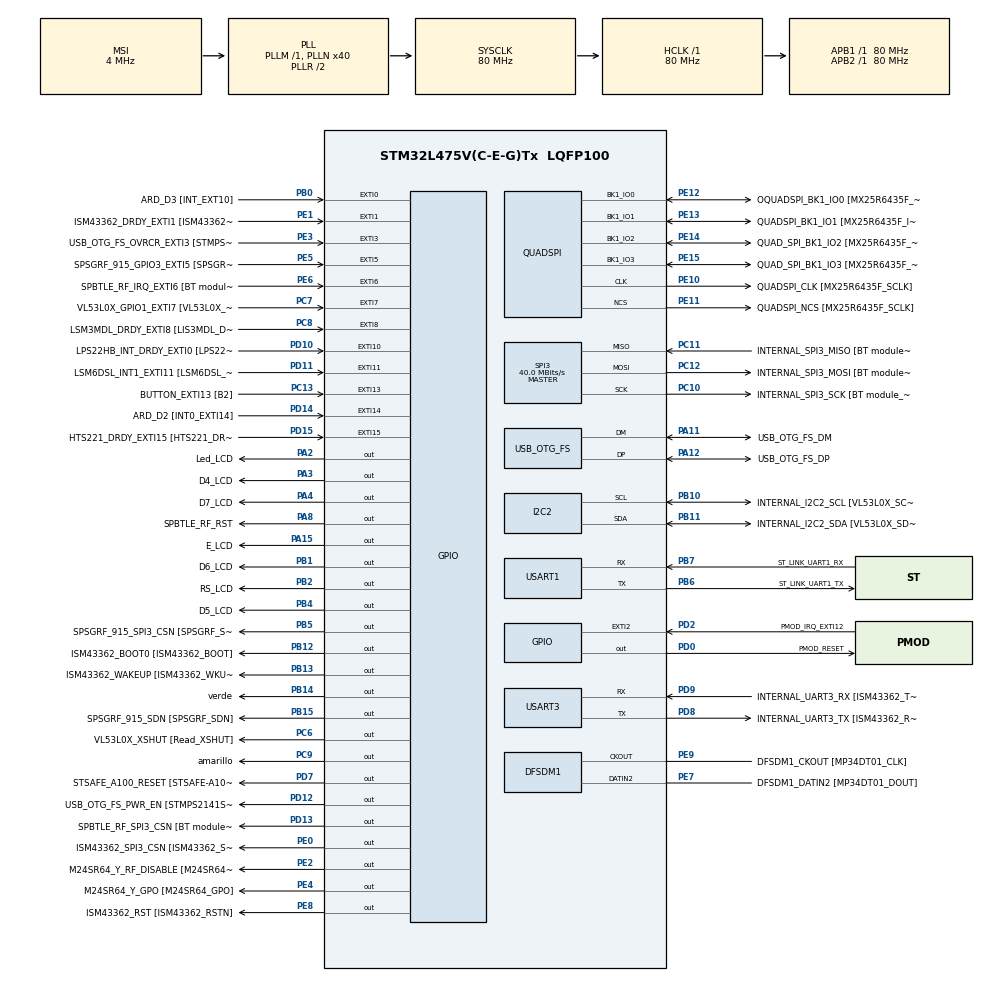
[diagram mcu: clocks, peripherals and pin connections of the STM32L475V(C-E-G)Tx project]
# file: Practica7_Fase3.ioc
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FREERTOS.BinarySemaphores01=AccesoLCD,Dynamic,NULL
FREERTOS.Tasks01=defaultTask,24,128,StartDefaultTask,Default,NULL,Dynamic,NULL,NULL;led_verde,24,128,Start_led_verde,Default,NULL,Dynamic,NULL,NULL;led_amarillo,8,128,Start_led_amarillo,Default,NULL,Dynamic,NULL,NULL;LCDTareaA,8,128,StartLCD_TareaA,Default,NULL,Dynamic,NULL,NULL;LCDtareaB,9,128,StartTareaB,Default,NULL,Dynamic,NULL,NULL
FREERTOS.configTOTAL_HEAP_SIZE=30000
I2C2.Timing=0x10909CEC
Mcu.Family=STM32L4
Mcu.Name=STM32L475V(C-E-G)Tx
Mcu.Package=LQFP100
NVIC.EXTI15_10_IRQn=true\:5\:0\:false\:false\:true\:true\:true\:true\:true
NVIC.EXTI9_5_IRQn=true\:5\:0\:false\:false\:true\:true\:true\:true\:true
NVIC.PriorityGroup=NVIC_PRIORITYGROUP_4
PA0.GPIO_Label=ARD_D1 [UART4_TX]
PA0.Signal=UART4_TX
PA1.GPIO_Label=ARD_D0 [UART4_RX]
PA1.Signal=UART4_RX
PA10.GPIO_Label=USB_OTG_FS_ID
PA10.Signal=USB_OTG_FS_ID
PA11.GPIO_Label=USB_OTG_FS_DM
PA11.Mode=Device_Only
PA11.Signal=USB_OTG_FS_DM
PA12.GPIO_Label=USB_OTG_FS_DP
PA12.Mode=Device_Only
PA12.Signal=USB_OTG_FS_DP
PA13\ (JTMS-SWDIO).GPIO_Label=SYS_JTMS_SWDIO
PA13\ (JTMS-SWDIO).Mode=Serial_Wire
PA13\ (JTMS-SWDIO).Signal=SYS_JTMS-SWDIO
PA14\ (JTCK-SWCLK).GPIO_Label=SYS_JTCK_SWCLK
PA14\ (JTCK-SWCLK).Mode=Serial_Wire
PA14\ (JTCK-SWCLK).Signal=SYS_JTCK-SWCLK
PA15\ (JTDI).GPIO_Label=E_LCD
PA15\ (JTDI).Signal=GPIO_Output
PA2.GPIO_Label=Led_LCD
PA2.Signal=GPIO_Output
PA3.GPIO_Label=D4_LCD
PA3.Signal=GPIO_Output
PA4.GPIO_Label=D7_LCD
PA4.Signal=GPIO_Output
PA5.GPIO_Label=ARD_D13 [SPI1_SCK]
PA5.Signal=SPI1_SCK
PA6.GPIO_Label=ARD_D12 [SPI1_MISO]
PA6.Signal=SPI1_MISO
PA7.GPIO_Label=ARD_D11 [SPI1_MOSI]
PA7.Signal=SPI1_MOSI
PA8.GPIO_Label=SPBTLE_RF_RST
PA8.Signal=GPIO_Output
PA9.GPIO_Label=USB_OTG_FS_VBUS [STMPS2141STR_OUT]
PA9.Signal=USB_OTG_FS_VBUS
PB0.GPIO_Label=ARD_D3 [INT_EXT10]
PB0.Signal=GPXTI0
PB1.GPIO_Label=D6_LCD
PB1.Signal=GPIO_Output
PB10.GPIO_Label=INTERNAL_I2C2_SCL [VL53L0X_SCL]
PB10.GPIO_Pu=GPIO_PULLUP
PB10.Mode=I2C
PB10.Signal=I2C2_SCL
PB11.GPIO_Label=INTERNAL_I2C2_SDA [VL53L0X_SDA]
PB11.GPIO_Pu=GPIO_PULLUP
PB11.Mode=I2C
PB11.Signal=I2C2_SDA
PB12.GPIO_Label=ISM43362_BOOT0 [ISM43362_BOOT]
PB12.Signal=GPIO_Output
PB13.GPIO_Label=ISM43362_WAKEUP [ISM43362_WKUP]
PB13.Signal=GPIO_Output
PB14.GPIO_Label=verde
PB14.Signal=GPIO_Output
PB15.GPIO_Label=SPSGRF_915_SDN [SPSGRF_SDN]
PB15.Signal=GPIO_Output
PB2.GPIO_Label=RS_LCD
PB2.Signal=GPIO_Output
PB3\ (JTDO-TRACESWO).GPIO_Label=SYS_JTD0_SWO
PB3\ (JTDO-TRACESWO).Signal=SYS_JTDO-SWO
PB4\ (NJTRST).GPIO_Label=D5_LCD
PB4\ (NJTRST).Signal=GPIO_Output
PB5.GPIO_Label=SPSGRF_915_SPI3_CSN [SPSGRF_SPI_CS]
PB5.PinState=GPIO_PIN_SET
PB5.Signal=GPIO_Output
PB6.GPIO_Label=ST_LINK_UART1_TX
PB6.Mode=Asynchronous
PB6.Signal=USART1_TX
PB7.GPIO_Label=ST_LINK_UART1_RX
PB7.Mode=Asynchronous
PB7.Signal=USART1_RX
PB8.GPIO_Label=ARD_D15 [I2C1_SCL]
PB8.Signal=I2C1_SCL
PB9.GPIO_Label=ARD_D14 [I2C1_SDA]
PB9.Signal=I2C1_SDA
PC0.GPIO_Label=ARD_A5 [ADC]
PC0.Signal=ADCx_IN1
PC1.GPIO_Label=ARD_A4 [ADC]
PC1.Signal=ADCx_IN2
PC10.GPIO_Label=INTERNAL_SPI3_SCK [BT module_SPI_SCLK] [ISM43362_SCK]
PC10.Mode=Full_Duplex_Master
PC10.Signal=SPI3_SCK
PC11.GPIO_Label=INTERNAL_SPI3_MISO [BT module_SPI_MISO] [ISM43362_MISO]
PC11.Mode=Full_Duplex_Master
PC11.Signal=SPI3_MISO
PC12.GPIO_Label=INTERNAL_SPI3_MOSI [BT module_SPI_MOSI] [ISM43362_MOSI]
PC12.Mode=Full_Duplex_Master
PC12.Signal=SPI3_MOSI
PC13.GPIO_Label=BUTTON_EXTI13 [B2]
PC13.GPIO_ModeDefaultEXTI=GPIO_MODE_IT_FALLING
PC13.Signal=GPXTI13
PC14-OSC32_IN\ (PC14).Mode=LSE-External-Oscillator
PC14-OSC32_IN\ (PC14).Signal=RCC_OSC32_IN
PC15-OSC32_OUT\ (PC15).Mode=LSE-External-Oscillator
PC15-OSC32_OUT\ (PC15).Signal=RCC_OSC32_OUT
PC2.GPIO_Label=ARD_A3 [ADC]
PC2.Signal=ADCx_IN3
PC3.GPIO_Label=ARD_A2 [ADC]
PC3.Signal=ADCx_IN4
PC4.GPIO_Label=ARD_A1 [ADC]
PC4.Signal=ADCx_IN13
PC5.GPIO_Label=ARD_A0 [ADC]
PC5.Signal=ADCx_IN14
PC6.GPIO_Label=VL53L0X_XSHUT [Read_XSHUT]
PC6.Signal=GPIO_Output
PC7.GPIO_Label=VL53L0X_GPIO1_EXTI7 [VL53L0X_GPIO1]
PC7.Signal=GPXTI7
PC8.GPIO_Label=LSM3MDL_DRDY_EXTI8 [LIS3MDL_DRDY]
PC8.Signal=GPXTI8
PC9.GPIO_Label=amarillo
PC9.Signal=GPIO_Output
PD0.GPIO_Label=PMOD_RESET
PD0.Signal=GPIO_Output
PD1.GPIO_Label=PMOD_SPI2_SCK
PD1.Signal=SPI2_SCK
PD10.GPIO_Label=LPS22HB_INT_DRDY_EXTI0 [LPS22HB_INT_DRDY] 
PD10.Signal=GPXTI10
PD11.GPIO_Label=LSM6DSL_INT1_EXTI11 [LSM6DSL_INT1]
PD11.Signal=GPXTI11
PD12.GPIO_Label=USB_OTG_FS_PWR_EN [STMPS2141STR_EN]
PD12.Signal=GPIO_Output
PD13.GPIO_Label=SPBTLE_RF_SPI3_CSN [BT module_SPI_CS]
PD13.PinState=GPIO_PIN_SET
PD13.Signal=GPIO_Output
PD14.GPIO_Label=ARD_D2 [INT0_EXTI14]
PD14.Signal=GPXTI14
PD15.GPIO_Label=HTS221_DRDY_EXTI15 [HTS221_DRDY]
PD15.Signal=GPXTI15
PD2.GPIO_Label=PMOD_IRQ_EXTI12
PD2.Signal=GPXTI2
PD3.GPIO_Label=PMOD_UART2_CTS
PD3.Signal=USART2_CTS
PD4.GPIO_Label=PMOD_UART2_RTS
PD4.Signal=USART2_RTS
PD5.GPIO_Label=PMOD_UART2_TX
PD5.Signal=USART2_TX
PD6.GPIO_Label=PMOD_UART2_RX
PD6.Signal=USART2_RX
PD7.GPIO_Label=STSAFE_A100_RESET [STSAFE-A100_RESET]
PD7.Signal=GPIO_Output
PD8.GPIO_Label=INTERNAL_UART3_TX [ISM43362_RX]
PD8.Mode=Asynchronous
PD8.Signal=USART3_TX
PD9.GPIO_Label=INTERNAL_UART3_RX [ISM43362_TX]
PD9.Mode=Asynchronous
PD9.Signal=USART3_RX
PE0.GPIO_Label=ISM43362_SPI3_CSN [ISM43362_SSN]
PE0.PinState=GPIO_PIN_SET
PE0.Signal=GPIO_Output
PE1.GPIO_Label=ISM43362_DRDY_EXTI1 [ISM43362_DATARDY]
PE1.Signal=GPXTI1
PE10.GPIO_Label=QUADSPI_CLK [MX25R6435F_SCLK]
PE10.Mode=Single Bank
PE10.Signal=QUADSPI_CLK
PE11.GPIO_Label=QUADSPI_NCS [MX25R6435F_SCLK]
PE11.Mode=Single Bank
PE11.Signal=QUADSPI_NCS
PE12.GPIO_Label=OQUADSPI_BK1_IO0 [MX25R6435F_IO0]
PE12.Mode=Single Bank
PE12.Signal=QUADSPI_BK1_IO0
PE13.GPIO_Label=QUADSPI_BK1_IO1 [MX25R6435F_IO1]
PE13.Mode=Single Bank
PE13.Signal=QUADSPI_BK1_IO1
PE14.GPIO_Label=QUAD_SPI_BK1_IO2 [MX25R6435F_IO2]
PE14.Mode=Single Bank
PE14.Signal=QUADSPI_BK1_IO2
PE15.GPIO_Label=QUAD_SPI_BK1_IO3 [MX25R6435F_IO3]
PE15.Mode=Single Bank
PE15.Signal=QUADSPI_BK1_IO3
PE2.GPIO_Label=M24SR64_Y_RF_DISABLE [M24SR64_RFDIS]
PE2.Signal=GPIO_Output
PE3.GPIO_Label=USB_OTG_FS_OVRCR_EXTI3 [STMPS2141STR_FAULT]
PE3.Signal=GPXTI3
PE4.GPIO_Label=M24SR64_Y_GPO [M24SR64_GPO]
PE4.Signal=GPIO_Output
PE5.GPIO_Label=SPSGRF_915_GPIO3_EXTI5 [SPSGRF_GPIO_3]
PE5.Signal=GPXTI5
PE6.GPIO_Label=SPBTLE_RF_IRQ_EXTI6 [BT module_SPI_IRQ]
PE6.Signal=GPXTI6
PE7.GPIO_Label=DFSDM1_DATIN2 [MP34DT01_DOUT]
PE7.Signal=S_DATAIN2DFSDM1
PE8.GPIO_Label=ISM43362_RST [ISM43362_RSTN]
PE8.Signal=GPIO_Output
PE9.GPIO_Label=DFSDM1_CKOUT [MP34DT01_CLK]
PE9.Signal=S_CKOUTDFSDM1
ProjectManager.HeapSize=0x200
ProjectManager.StackSize=0x400
ProjectManager.TargetToolchain=STM32CubeIDE
QUADSPI.ClockPrescaler=2
QUADSPI.FifoThreshold=4
QUADSPI.FlashSize=23
QUADSPI.SampleShifting=QSPI_SAMPLE_SHIFTING_HALFCYCLE
RCC.ADCFreq_Value=48000000
RCC.AHBFreq_Value=80000000
RCC.APB1Freq_Value=80000000
RCC.APB1TimFreq_Value=80000000
RCC.APB2Freq_Value=80000000
RCC.APB2TimFreq_Value=80000000
RCC.CortexFreq_Value=80000000
RCC.HCLKFreq_Value=80000000
RCC.HSE_VALUE=8000000
RCC.HSI_VALUE=16000000
RCC.MSI_VALUE=4000000
RCC.PLLN=40
RCC.PLLSAI1N=24
RCC.SYSCLKFreq_VALUE=80000000
RCC.SYSCLKSource=RCC_SYSCLKSOURCE_PLLCLK
RCC.USBFreq_Value=48000000
RCC.VCOOutputFreq_Value=160000000
SH.ADCx_IN1.0=ADC1_IN1
SH.ADCx_IN13.0=ADC1_IN13
SH.ADCx_IN14.0=ADC1_IN14
SH.ADCx_IN2.0=ADC1_IN2
SH.ADCx_IN3.0=ADC1_IN3
SH.ADCx_IN4.0=ADC1_IN4
SH.S_CKOUTDFSDM1.0=DFSDM1_CKOUT,CKOUT
SH.S_CKOUTDFSDM1.1=DFSDM1_CKOUT,PDM_SPI_Input_from_ch12_and_Internal_Clock
SH.S_DATAIN2DFSDM1.0=DFSDM1_DATIN2,PDM_SPI_Input_from_ch12_and_Internal_Clock
SPI3.CalculateBaudRate=40.0 MBits/s
SPI3.Direction=SPI_DIRECTION_2LINES
SPI3.Mode=SPI_MODE_MASTER
SPI3.VirtualType=VM_MASTER
USART1.VirtualMode-Asynchronous=VM_ASYNC
USART3.VirtualMode-Asynchronous=VM_ASYNC
USB_OTG_FS.VirtualMode=Device_Only
VP_FREERTOS_VS_CMSIS_V2.Mode=CMSIS_V2
board=B-L475E-IOT01A2

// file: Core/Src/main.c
/* USER CODE BEGIN Header */
/**
  ******************************************************************************
  * @file           : main.c
  * @brief          : Main program body
  ******************************************************************************
  * @attention
  *
  * Copyright (c) 2024 STMicroelectronics.
  * All rights reserved.
  *
  * This software is licensed under terms that can be found in the LICENSE file
  * in the root directory of this software component.
  * If no LICENSE file comes with this software, it is provided AS-IS.
  *
  ******************************************************************************
  */
/* USER CODE END Header */
#include "main.h"
#include "cmsis_os.h"

/* USER CODE BEGIN Includes */
#include "hd44780.h"
/* USER CODE END Includes */

DFSDM_Channel_HandleTypeDef hdfsdm1_channel1;

I2C_HandleTypeDef hi2c2;

QSPI_HandleTypeDef hqspi;

SPI_HandleTypeDef hspi3;

UART_HandleTypeDef huart1;
UART_HandleTypeDef huart3;

PCD_HandleTypeDef hpcd_USB_OTG_FS;

/* Definitions for defaultTask */
osThreadId_t defaultTaskHandle;
const osThreadAttr_t defaultTask_attributes = {
  .name = "defaultTask",
  .stack_size = 128 * 4,
  .priority = (osPriority_t) osPriorityNormal,
};
/* Definitions for led_verde */
osThreadId_t led_verdeHandle;
const osThreadAttr_t led_verde_attributes = {
  .name = "led_verde",
  .stack_size = 128 * 4,
  .priority = (osPriority_t) osPriorityNormal,
};
/* Definitions for led_amarillo */
osThreadId_t led_amarilloHandle;
const osThreadAttr_t led_amarillo_attributes = {
  .name = "led_amarillo",
  .stack_size = 128 * 4,
  .priority = (osPriority_t) osPriorityLow,
};
/* Definitions for LCDTareaA */
osThreadId_t LCDTareaAHandle;
const osThreadAttr_t LCDTareaA_attributes = {
  .name = "LCDTareaA",
  .stack_size = 128 * 4,
  .priority = (osPriority_t) osPriorityLow,
};
/* Definitions for LCDtareaB */
osThreadId_t LCDtareaBHandle;
const osThreadAttr_t LCDtareaB_attributes = {
  .name = "LCDtareaB",
  .stack_size = 128 * 4,
  .priority = (osPriority_t) osPriorityLow1,
};
/* Definitions for AccesoLCD */
osSemaphoreId_t AccesoLCDHandle;
const osSemaphoreAttr_t AccesoLCD_attributes = {
  .name = "AccesoLCD"
};

void SystemClock_Config(void);
static void MX_GPIO_Init(void);
static void MX_DFSDM1_Init(void);
static void MX_I2C2_Init(void);
static void MX_QUADSPI_Init(void);
static void MX_SPI3_Init(void);
static void MX_USART1_UART_Init(void);
static void MX_USART3_UART_Init(void);
static void MX_USB_OTG_FS_PCD_Init(void);
void StartDefaultTask(void *argument);
void Start_led_verde(void *argument);
void Start_led_amarillo(void *argument);
void StartLCD_TareaA(void *argument);
void StartTareaB(void *argument);

int main(void)
{

  /* MCU Configuration--------------------------------------------------------*/

  /* Reset of all peripherals, Initializes the Flash interface and the Systick. */
  HAL_Init();

  /* Configure the system clock */
  SystemClock_Config();

  /* Initialize all configured peripherals */
  MX_GPIO_Init();
  MX_DFSDM1_Init();
  MX_I2C2_Init();
  MX_QUADSPI_Init();
  MX_SPI3_Init();
  MX_USART1_UART_Init();
  MX_USART3_UART_Init();
  MX_USB_OTG_FS_PCD_Init();

  /* Init scheduler */
  osKernelInitialize();

  /* Create the semaphores(s) */
  /* creation of AccesoLCD */
  AccesoLCDHandle = osSemaphoreNew(1, 1, &AccesoLCD_attributes);

  /* Create the thread(s) */
  /* creation of defaultTask */
  defaultTaskHandle = osThreadNew(StartDefaultTask, NULL, &defaultTask_attributes);

  /* creation of led_verde */
  led_verdeHandle = osThreadNew(Start_led_verde, NULL, &led_verde_attributes);

  /* creation of led_amarillo */
  led_amarilloHandle = osThreadNew(Start_led_amarillo, NULL, &led_amarillo_attributes);

  /* creation of LCDTareaA */
  LCDTareaAHandle = osThreadNew(StartLCD_TareaA, NULL, &LCDTareaA_attributes);

  /* creation of LCDtareaB */
  LCDtareaBHandle = osThreadNew(StartTareaB, NULL, &LCDtareaB_attributes);

  /* Start scheduler */
  osKernelStart();

  /* We should never get here as control is now taken by the scheduler */
  /* Infinite loop */
  while (1)
  {

  }
}

void SystemClock_Config(void)
{
  RCC_OscInitTypeDef RCC_OscInitStruct = {0};
  RCC_ClkInitTypeDef RCC_ClkInitStruct = {0};

  /** Configure the main internal regulator output voltage
  */
  if (HAL_PWREx_ControlVoltageScaling(PWR_REGULATOR_VOLTAGE_SCALE1) != HAL_OK)
  {
    Error_Handler();
  }

  /** Configure LSE Drive Capability
  */
  HAL_PWR_EnableBkUpAccess();
  __HAL_RCC_LSEDRIVE_CONFIG(RCC_LSEDRIVE_LOW);

  /** Initializes the RCC Oscillators according to the specified parameters
  * in the RCC_OscInitTypeDef structure.
  */
  RCC_OscInitStruct.OscillatorType = RCC_OSCILLATORTYPE_LSE|RCC_OSCILLATORTYPE_MSI;
  RCC_OscInitStruct.LSEState = RCC_LSE_ON;
  RCC_OscInitStruct.MSIState = RCC_MSI_ON;
  RCC_OscInitStruct.MSICalibrationValue = 0;
  RCC_OscInitStruct.MSIClockRange = RCC_MSIRANGE_6;
  RCC_OscInitStruct.PLL.PLLState = RCC_PLL_ON;
  RCC_OscInitStruct.PLL.PLLSource = RCC_PLLSOURCE_MSI;
  RCC_OscInitStruct.PLL.PLLM = 1;
  RCC_OscInitStruct.PLL.PLLN = 40;
  RCC_OscInitStruct.PLL.PLLP = RCC_PLLP_DIV7;
  RCC_OscInitStruct.PLL.PLLQ = RCC_PLLQ_DIV2;
  RCC_OscInitStruct.PLL.PLLR = RCC_PLLR_DIV2;
  if (HAL_RCC_OscConfig(&RCC_OscInitStruct) != HAL_OK)
  {
    Error_Handler();
  }

  /** Initializes the CPU, AHB and APB buses clocks
  */
  RCC_ClkInitStruct.ClockType = RCC_CLOCKTYPE_HCLK|RCC_CLOCKTYPE_SYSCLK
                              |RCC_CLOCKTYPE_PCLK1|RCC_CLOCKTYPE_PCLK2;
  RCC_ClkInitStruct.SYSCLKSource = RCC_SYSCLKSOURCE_PLLCLK;
  RCC_ClkInitStruct.AHBCLKDivider = RCC_SYSCLK_DIV1;
  RCC_ClkInitStruct.APB1CLKDivider = RCC_HCLK_DIV1;
  RCC_ClkInitStruct.APB2CLKDivider = RCC_HCLK_DIV1;

  if (HAL_RCC_ClockConfig(&RCC_ClkInitStruct, FLASH_LATENCY_4) != HAL_OK)
  {
    Error_Handler();
  }

  /** Enable MSI Auto calibration
  */
  HAL_RCCEx_EnableMSIPLLMode();
}

static void MX_DFSDM1_Init(void)
{

  hdfsdm1_channel1.Instance = DFSDM1_Channel1;
  hdfsdm1_channel1.Init.OutputClock.Activation = ENABLE;
  hdfsdm1_channel1.Init.OutputClock.Selection = DFSDM_CHANNEL_OUTPUT_CLOCK_SYSTEM;
  hdfsdm1_channel1.Init.OutputClock.Divider = 2;
  hdfsdm1_channel1.Init.Input.Multiplexer = DFSDM_CHANNEL_EXTERNAL_INPUTS;
  hdfsdm1_channel1.Init.Input.DataPacking = DFSDM_CHANNEL_STANDARD_MODE;
  hdfsdm1_channel1.Init.Input.Pins = DFSDM_CHANNEL_FOLLOWING_CHANNEL_PINS;
  hdfsdm1_channel1.Init.SerialInterface.Type = DFSDM_CHANNEL_SPI_RISING;
  hdfsdm1_channel1.Init.SerialInterface.SpiClock = DFSDM_CHANNEL_SPI_CLOCK_INTERNAL;
  hdfsdm1_channel1.Init.Awd.FilterOrder = DFSDM_CHANNEL_FASTSINC_ORDER;
  hdfsdm1_channel1.Init.Awd.Oversampling = 1;
  hdfsdm1_channel1.Init.Offset = 0;
  hdfsdm1_channel1.Init.RightBitShift = 0x00;
  if (HAL_DFSDM_ChannelInit(&hdfsdm1_channel1) != HAL_OK)
  {
    Error_Handler();
  }

}

static void MX_I2C2_Init(void)
{

  hi2c2.Instance = I2C2;
  hi2c2.Init.Timing = 0x10909CEC;
  hi2c2.Init.OwnAddress1 = 0;
  hi2c2.Init.AddressingMode = I2C_ADDRESSINGMODE_7BIT;
  hi2c2.Init.DualAddressMode = I2C_DUALADDRESS_DISABLE;
  hi2c2.Init.OwnAddress2 = 0;
  hi2c2.Init.OwnAddress2Masks = I2C_OA2_NOMASK;
  hi2c2.Init.GeneralCallMode = I2C_GENERALCALL_DISABLE;
  hi2c2.Init.NoStretchMode = I2C_NOSTRETCH_DISABLE;
  if (HAL_I2C_Init(&hi2c2) != HAL_OK)
  {
    Error_Handler();
  }

  /** Configure Analogue filter
  */
  if (HAL_I2CEx_ConfigAnalogFilter(&hi2c2, I2C_ANALOGFILTER_ENABLE) != HAL_OK)
  {
    Error_Handler();
  }

  /** Configure Digital filter
  */
  if (HAL_I2CEx_ConfigDigitalFilter(&hi2c2, 0) != HAL_OK)
  {
    Error_Handler();
  }

}

static void MX_QUADSPI_Init(void)
{

  /* QUADSPI parameter configuration*/
  hqspi.Instance = QUADSPI;
  hqspi.Init.ClockPrescaler = 2;
  hqspi.Init.FifoThreshold = 4;
  hqspi.Init.SampleShifting = QSPI_SAMPLE_SHIFTING_HALFCYCLE;
  hqspi.Init.FlashSize = 23;
  hqspi.Init.ChipSelectHighTime = QSPI_CS_HIGH_TIME_1_CYCLE;
  hqspi.Init.ClockMode = QSPI_CLOCK_MODE_0;
  if (HAL_QSPI_Init(&hqspi) != HAL_OK)
  {
    Error_Handler();
  }

}

static void MX_SPI3_Init(void)
{

  /* SPI3 parameter configuration*/
  hspi3.Instance = SPI3;
  hspi3.Init.Mode = SPI_MODE_MASTER;
  hspi3.Init.Direction = SPI_DIRECTION_2LINES;
  hspi3.Init.DataSize = SPI_DATASIZE_4BIT;
  hspi3.Init.CLKPolarity = SPI_POLARITY_LOW;
  hspi3.Init.CLKPhase = SPI_PHASE_1EDGE;
  hspi3.Init.NSS = SPI_NSS_SOFT;
  hspi3.Init.BaudRatePrescaler = SPI_BAUDRATEPRESCALER_2;
  hspi3.Init.FirstBit = SPI_FIRSTBIT_MSB;
  hspi3.Init.TIMode = SPI_TIMODE_DISABLE;
  hspi3.Init.CRCCalculation = SPI_CRCCALCULATION_DISABLE;
  hspi3.Init.CRCPolynomial = 7;
  hspi3.Init.CRCLength = SPI_CRC_LENGTH_DATASIZE;
  hspi3.Init.NSSPMode = SPI_NSS_PULSE_ENABLE;
  if (HAL_SPI_Init(&hspi3) != HAL_OK)
  {
    Error_Handler();
  }

}

static void MX_USART1_UART_Init(void)
{

  huart1.Instance = USART1;
  huart1.Init.BaudRate = 115200;
  huart1.Init.WordLength = UART_WORDLENGTH_8B;
  huart1.Init.StopBits = UART_STOPBITS_1;
  huart1.Init.Parity = UART_PARITY_NONE;
  huart1.Init.Mode = UART_MODE_TX_RX;
  huart1.Init.HwFlowCtl = UART_HWCONTROL_NONE;
  huart1.Init.OverSampling = UART_OVERSAMPLING_16;
  huart1.Init.OneBitSampling = UART_ONE_BIT_SAMPLE_DISABLE;
  huart1.AdvancedInit.AdvFeatureInit = UART_ADVFEATURE_NO_INIT;
  if (HAL_UART_Init(&huart1) != HAL_OK)
  {
    Error_Handler();
  }

}

static void MX_USART3_UART_Init(void)
{

  huart3.Instance = USART3;
  huart3.Init.BaudRate = 115200;
  huart3.Init.WordLength = UART_WORDLENGTH_8B;
  huart3.Init.StopBits = UART_STOPBITS_1;
  huart3.Init.Parity = UART_PARITY_NONE;
  huart3.Init.Mode = UART_MODE_TX_RX;
  huart3.Init.HwFlowCtl = UART_HWCONTROL_NONE;
  huart3.Init.OverSampling = UART_OVERSAMPLING_16;
  huart3.Init.OneBitSampling = UART_ONE_BIT_SAMPLE_DISABLE;
  huart3.AdvancedInit.AdvFeatureInit = UART_ADVFEATURE_NO_INIT;
  if (HAL_UART_Init(&huart3) != HAL_OK)
  {
    Error_Handler();
  }

}

static void MX_USB_OTG_FS_PCD_Init(void)
{

  hpcd_USB_OTG_FS.Instance = USB_OTG_FS;
  hpcd_USB_OTG_FS.Init.dev_endpoints = 6;
  hpcd_USB_OTG_FS.Init.speed = PCD_SPEED_FULL;
  hpcd_USB_OTG_FS.Init.phy_itface = PCD_PHY_EMBEDDED;
  hpcd_USB_OTG_FS.Init.Sof_enable = DISABLE;
  hpcd_USB_OTG_FS.Init.low_power_enable = DISABLE;
  hpcd_USB_OTG_FS.Init.lpm_enable = DISABLE;
  hpcd_USB_OTG_FS.Init.battery_charging_enable = DISABLE;
  hpcd_USB_OTG_FS.Init.use_dedicated_ep1 = DISABLE;
  hpcd_USB_OTG_FS.Init.vbus_sensing_enable = DISABLE;
  if (HAL_PCD_Init(&hpcd_USB_OTG_FS) != HAL_OK)
  {
    Error_Handler();
  }

}

static void MX_GPIO_Init(void)
{
  GPIO_InitTypeDef GPIO_InitStruct = {0};

  /* GPIO Ports Clock Enable */
  __HAL_RCC_GPIOE_CLK_ENABLE();
  __HAL_RCC_GPIOC_CLK_ENABLE();
  __HAL_RCC_GPIOA_CLK_ENABLE();
  __HAL_RCC_GPIOB_CLK_ENABLE();
  __HAL_RCC_GPIOD_CLK_ENABLE();

  /*Configure GPIO pin Output Level */
  HAL_GPIO_WritePin(GPIOE, M24SR64_Y_RF_DISABLE_Pin|M24SR64_Y_GPO_Pin|ISM43362_RST_Pin, GPIO_PIN_RESET);

  /*Configure GPIO pin Output Level */
  HAL_GPIO_WritePin(GPIOA, Led_LCD_Pin|D4_LCD_Pin|D7_LCD_Pin|SPBTLE_RF_RST_Pin
                          |E_LCD_Pin, GPIO_PIN_RESET);

  /*Configure GPIO pin Output Level */
  HAL_GPIO_WritePin(GPIOB, D6_LCD_Pin|RS_LCD_Pin|ISM43362_BOOT0_Pin|ISM43362_WAKEUP_Pin
                          |verde_Pin|SPSGRF_915_SDN_Pin|D5_LCD_Pin, GPIO_PIN_RESET);

  /*Configure GPIO pin Output Level */
  HAL_GPIO_WritePin(GPIOD, USB_OTG_FS_PWR_EN_Pin|PMOD_RESET_Pin|STSAFE_A100_RESET_Pin, GPIO_PIN_RESET);

  /*Configure GPIO pin Output Level */
  HAL_GPIO_WritePin(SPBTLE_RF_SPI3_CSN_GPIO_Port, SPBTLE_RF_SPI3_CSN_Pin, GPIO_PIN_SET);

  /*Configure GPIO pin Output Level */
  HAL_GPIO_WritePin(GPIOC, VL53L0X_XSHUT_Pin|amarillo_Pin, GPIO_PIN_RESET);

  /*Configure GPIO pin Output Level */
  HAL_GPIO_WritePin(SPSGRF_915_SPI3_CSN_GPIO_Port, SPSGRF_915_SPI3_CSN_Pin, GPIO_PIN_SET);

  /*Configure GPIO pin Output Level */
  HAL_GPIO_WritePin(ISM43362_SPI3_CSN_GPIO_Port, ISM43362_SPI3_CSN_Pin, GPIO_PIN_SET);

  /*Configure GPIO pins : M24SR64_Y_RF_DISABLE_Pin M24SR64_Y_GPO_Pin ISM43362_RST_Pin ISM43362_SPI3_CSN_Pin */
  GPIO_InitStruct.Pin = M24SR64_Y_RF_DISABLE_Pin|M24SR64_Y_GPO_Pin|ISM43362_RST_Pin|ISM43362_SPI3_CSN_Pin;
  GPIO_InitStruct.Mode = GPIO_MODE_OUTPUT_PP;
  GPIO_InitStruct.Pull = GPIO_NOPULL;
  GPIO_InitStruct.Speed = GPIO_SPEED_FREQ_LOW;
  HAL_GPIO_Init(GPIOE, &GPIO_InitStruct);

  /*Configure GPIO pins : USB_OTG_FS_OVRCR_EXTI3_Pin SPSGRF_915_GPIO3_EXTI5_Pin SPBTLE_RF_IRQ_EXTI6_Pin ISM43362_DRDY_EXTI1_Pin */
  GPIO_InitStruct.Pin = USB_OTG_FS_OVRCR_EXTI3_Pin|SPSGRF_915_GPIO3_EXTI5_Pin|SPBTLE_RF_IRQ_EXTI6_Pin|ISM43362_DRDY_EXTI1_Pin;
  GPIO_InitStruct.Mode = GPIO_MODE_IT_RISING;
  GPIO_InitStruct.Pull = GPIO_NOPULL;
  HAL_GPIO_Init(GPIOE, &GPIO_InitStruct);

  /*Configure GPIO pin : BUTTON_EXTI13_Pin */
  GPIO_InitStruct.Pin = BUTTON_EXTI13_Pin;
  GPIO_InitStruct.Mode = GPIO_MODE_IT_FALLING;
  GPIO_InitStruct.Pull = GPIO_NOPULL;
  HAL_GPIO_Init(BUTTON_EXTI13_GPIO_Port, &GPIO_InitStruct);

  /*Configure GPIO pins : ARD_A5_Pin ARD_A4_Pin ARD_A3_Pin ARD_A2_Pin
                           ARD_A1_Pin ARD_A0_Pin */
  GPIO_InitStruct.Pin = ARD_A5_Pin|ARD_A4_Pin|ARD_A3_Pin|ARD_A2_Pin
                          |ARD_A1_Pin|ARD_A0_Pin;
  GPIO_InitStruct.Mode = GPIO_MODE_ANALOG_ADC_CONTROL;
  GPIO_InitStruct.Pull = GPIO_NOPULL;
  HAL_GPIO_Init(GPIOC, &GPIO_InitStruct);

  /*Configure GPIO pins : ARD_D1_Pin ARD_D0_Pin */
  GPIO_InitStruct.Pin = ARD_D1_Pin|ARD_D0_Pin;
  GPIO_InitStruct.Mode = GPIO_MODE_AF_PP;
  GPIO_InitStruct.Pull = GPIO_NOPULL;
  GPIO_InitStruct.Speed = GPIO_SPEED_FREQ_VERY_HIGH;
  GPIO_InitStruct.Alternate = GPIO_AF8_UART4;
  HAL_GPIO_Init(GPIOA, &GPIO_InitStruct);

  /*Configure GPIO pins : Led_LCD_Pin D4_LCD_Pin D7_LCD_Pin SPBTLE_RF_RST_Pin
                           E_LCD_Pin */
  GPIO_InitStruct.Pin = Led_LCD_Pin|D4_LCD_Pin|D7_LCD_Pin|SPBTLE_RF_RST_Pin
                          |E_LCD_Pin;
  GPIO_InitStruct.Mode = GPIO_MODE_OUTPUT_PP;
  GPIO_InitStruct.Pull = GPIO_NOPULL;
  GPIO_InitStruct.Speed = GPIO_SPEED_FREQ_LOW;
  HAL_GPIO_Init(GPIOA, &GPIO_InitStruct);

  /*Configure GPIO pins : ARD_D13_Pin ARD_D12_Pin ARD_D11_Pin */
  GPIO_InitStruct.Pin = ARD_D13_Pin|ARD_D12_Pin|ARD_D11_Pin;
  GPIO_InitStruct.Mode = GPIO_MODE_AF_PP;
  GPIO_InitStruct.Pull = GPIO_NOPULL;
  GPIO_InitStruct.Speed = GPIO_SPEED_FREQ_VERY_HIGH;
  GPIO_InitStruct.Alternate = GPIO_AF5_SPI1;
  HAL_GPIO_Init(GPIOA, &GPIO_InitStruct);

  /*Configure GPIO pin : ARD_D3_Pin */
  GPIO_InitStruct.Pin = ARD_D3_Pin;
  GPIO_InitStruct.Mode = GPIO_MODE_IT_RISING;
  GPIO_InitStruct.Pull = GPIO_NOPULL;
  HAL_GPIO_Init(ARD_D3_GPIO_Port, &GPIO_InitStruct);

  /*Configure GPIO pins : D6_LCD_Pin RS_LCD_Pin ISM43362_BOOT0_Pin ISM43362_WAKEUP_Pin
                           verde_Pin SPSGRF_915_SDN_Pin D5_LCD_Pin SPSGRF_915_SPI3_CSN_Pin */
  GPIO_InitStruct.Pin = D6_LCD_Pin|RS_LCD_Pin|ISM43362_BOOT0_Pin|ISM43362_WAKEUP_Pin
                          |verde_Pin|SPSGRF_915_SDN_Pin|D5_LCD_Pin|SPSGRF_915_SPI3_CSN_Pin;
  GPIO_InitStruct.Mode = GPIO_MODE_OUTPUT_PP;
  GPIO_InitStruct.Pull = GPIO_NOPULL;
  GPIO_InitStruct.Speed = GPIO_SPEED_FREQ_LOW;
  HAL_GPIO_Init(GPIOB, &GPIO_InitStruct);

  /*Configure GPIO pins : LPS22HB_INT_DRDY_EXTI0_Pin LSM6DSL_INT1_EXTI11_Pin ARD_D2_Pin HTS221_DRDY_EXTI15_Pin
                           PMOD_IRQ_EXTI12_Pin */
  GPIO_InitStruct.Pin = LPS22HB_INT_DRDY_EXTI0_Pin|LSM6DSL_INT1_EXTI11_Pin|ARD_D2_Pin|HTS221_DRDY_EXTI15_Pin
                          |PMOD_IRQ_EXTI12_Pin;
  GPIO_InitStruct.Mode = GPIO_MODE_IT_RISING;
  GPIO_InitStruct.Pull = GPIO_NOPULL;
  HAL_GPIO_Init(GPIOD, &GPIO_InitStruct);

  /*Configure GPIO pins : USB_OTG_FS_PWR_EN_Pin SPBTLE_RF_SPI3_CSN_Pin PMOD_RESET_Pin STSAFE_A100_RESET_Pin */
  GPIO_InitStruct.Pin = USB_OTG_FS_PWR_EN_Pin|SPBTLE_RF_SPI3_CSN_Pin|PMOD_RESET_Pin|STSAFE_A100_RESET_Pin;
  GPIO_InitStruct.Mode = GPIO_MODE_OUTPUT_PP;
  GPIO_InitStruct.Pull = GPIO_NOPULL;
  GPIO_InitStruct.Speed = GPIO_SPEED_FREQ_LOW;
  HAL_GPIO_Init(GPIOD, &GPIO_InitStruct);

  /*Configure GPIO pins : VL53L0X_XSHUT_Pin amarillo_Pin */
  GPIO_InitStruct.Pin = VL53L0X_XSHUT_Pin|amarillo_Pin;
  GPIO_InitStruct.Mode = GPIO_MODE_OUTPUT_PP;
  GPIO_InitStruct.Pull = GPIO_NOPULL;
  GPIO_InitStruct.Speed = GPIO_SPEED_FREQ_LOW;
  HAL_GPIO_Init(GPIOC, &GPIO_InitStruct);

  /*Configure GPIO pins : VL53L0X_GPIO1_EXTI7_Pin LSM3MDL_DRDY_EXTI8_Pin */
  GPIO_InitStruct.Pin = VL53L0X_GPIO1_EXTI7_Pin|LSM3MDL_DRDY_EXTI8_Pin;
  GPIO_InitStruct.Mode = GPIO_MODE_IT_RISING;
  GPIO_InitStruct.Pull = GPIO_NOPULL;
  HAL_GPIO_Init(GPIOC, &GPIO_InitStruct);

  /*Configure GPIO pin : PMOD_SPI2_SCK_Pin */
  GPIO_InitStruct.Pin = PMOD_SPI2_SCK_Pin;
  GPIO_InitStruct.Mode = GPIO_MODE_AF_PP;
  GPIO_InitStruct.Pull = GPIO_NOPULL;
  GPIO_InitStruct.Speed = GPIO_SPEED_FREQ_VERY_HIGH;
  GPIO_InitStruct.Alternate = GPIO_AF5_SPI2;
  HAL_GPIO_Init(PMOD_SPI2_SCK_GPIO_Port, &GPIO_InitStruct);

  /*Configure GPIO pins : PMOD_UART2_CTS_Pin PMOD_UART2_RTS_Pin PMOD_UART2_TX_Pin PMOD_UART2_RX_Pin */
  GPIO_InitStruct.Pin = PMOD_UART2_CTS_Pin|PMOD_UART2_RTS_Pin|PMOD_UART2_TX_Pin|PMOD_UART2_RX_Pin;
  GPIO_InitStruct.Mode = GPIO_MODE_AF_PP;
  GPIO_InitStruct.Pull = GPIO_NOPULL;
  GPIO_InitStruct.Speed = GPIO_SPEED_FREQ_VERY_HIGH;
  GPIO_InitStruct.Alternate = GPIO_AF7_USART2;
  HAL_GPIO_Init(GPIOD, &GPIO_InitStruct);

  /*Configure GPIO pins : ARD_D15_Pin ARD_D14_Pin */
  GPIO_InitStruct.Pin = ARD_D15_Pin|ARD_D14_Pin;
  GPIO_InitStruct.Mode = GPIO_MODE_AF_OD;
  GPIO_InitStruct.Pull = GPIO_NOPULL;
  GPIO_InitStruct.Speed = GPIO_SPEED_FREQ_VERY_HIGH;
  GPIO_InitStruct.Alternate = GPIO_AF4_I2C1;
  HAL_GPIO_Init(GPIOB, &GPIO_InitStruct);

  /* EXTI interrupt init*/
  HAL_NVIC_SetPriority(EXTI9_5_IRQn, 5, 0);
  HAL_NVIC_EnableIRQ(EXTI9_5_IRQn);

  HAL_NVIC_SetPriority(EXTI15_10_IRQn, 5, 0);
  HAL_NVIC_EnableIRQ(EXTI15_10_IRQn);

}

void StartDefaultTask(void *argument)
{
  for(;;)
  {
    osDelay(1);
  }
}

void Start_led_verde(void *argument)
{
  /* USER CODE BEGIN Start_led_verde */
  /* Infinite loop */
  for(;;)
  {HAL_GPIO_WritePin(verde_GPIO_Port, verde_Pin,1);
    osDelay(300);
    HAL_GPIO_WritePin(verde_GPIO_Port, verde_Pin,0);
        osDelay(300);
  }
  /* USER CODE END Start_led_verde */
}

void Start_led_amarillo(void *argument)
{
  /* USER CODE BEGIN Start_led_amarillo */
  /* Infinite loop */
  for(;;)
  {
	  HAL_GPIO_WritePin(amarillo_GPIO_Port, amarillo_Pin, 1);
	      osDelay(300);
	      HAL_GPIO_WritePin(amarillo_GPIO_Port,amarillo_Pin,0);
	          osDelay(300);
  }
  /* USER CODE END Start_led_amarillo */
}

void StartLCD_TareaA(void *argument)
{
  /* USER CODE BEGIN StartLCD_TareaA */
  /* Infinite loop */
	int contador = 0;
	lcd_reset();
	lcd_display_settings(1,0,0);
	lcd_clear();
	uint32_t tickA;
	tickA = osKernelGetTickCount();
  for(;;)
  {	  tickA+=200;
   osDelay(tickA);
	  osSemaphoreAcquire(AccesoLCDHandle, 0xFFFFfFFF);
  //le damos un time out enorme
	  moveToXY(0, 0);
	  lcd_print("Tarea A: ");
	  contador++;
	  writeIntegerToLCD(contador);
	//  tickA+=200;
osSemaphoreRelease(AccesoLCDHandle);

//osDelay(200);
  }
  /* USER CODE END StartLCD_TareaA */
}

void StartTareaB(void *argument)
{
  /* USER CODE BEGIN StartTareaB */
  /* Infinite loop */
	//esta se supone que la debemos retrasar un poco
int contador2 =0;
osDelay(16);
uint32_t tickB;
tickB = osKernelGetTickCount();
  for(;;)
  {   tickB+=100;
	  osDelay(tickB);

	 osSemaphoreAcquire(AccesoLCDHandle, 0xFFFFfFFF);
	moveToXY(1, 0);
	lcd_print("Tarea B");
	contador2++;
	writeIntegerToLCD(contador2);

	osSemaphoreRelease(AccesoLCDHandle);

  }
  /* USER CODE END StartTareaB */
}

void Error_Handler(void)
{
  __disable_irq();
  while (1)
  {
  }
}
